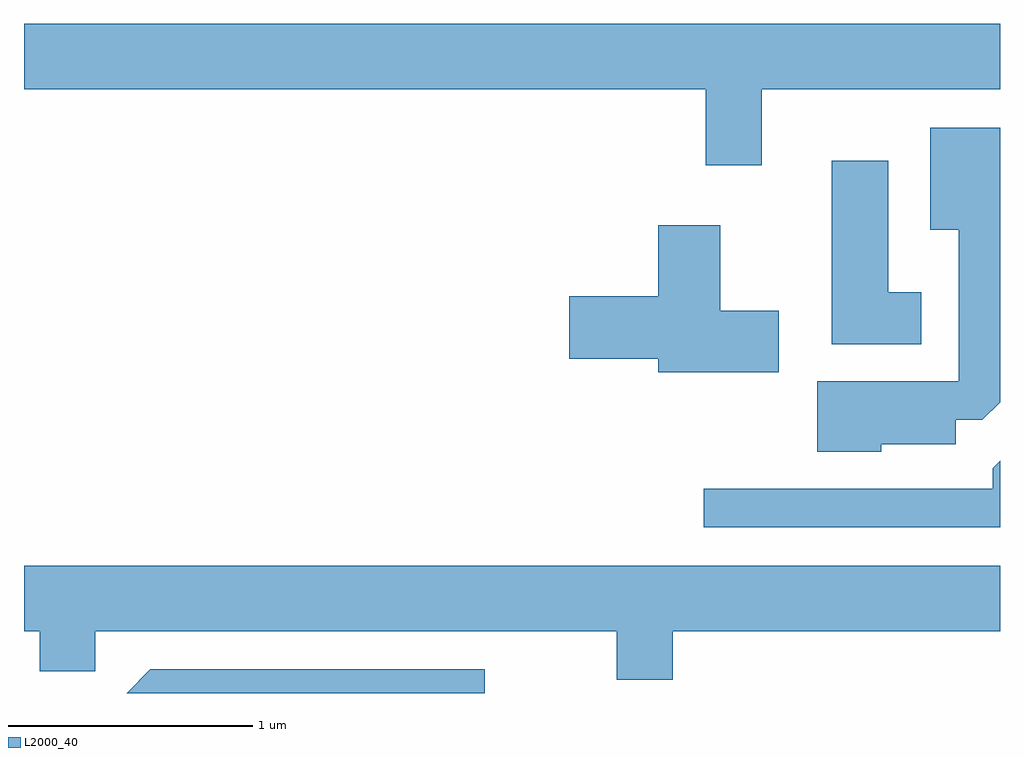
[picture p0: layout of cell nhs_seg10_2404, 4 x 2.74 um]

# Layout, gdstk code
import gdstk
lib = gdstk.Library(unit=1e-6, precision=1e-09)
def P(c, l, *ps):  # polygons
    for p in ps: c.add(gdstk.Polygon(p, *l))
L2000_40 = (2000, 40)

nhs_seg10_2404 = lib.new_cell('nhs_seg10_2404')
P(nhs_seg10_2404, L2000_40, [(258.634,2144.996),(259.611,2144.996),(259.611,2145.264),(255.611,2145.264),(255.611,2144.996),(258.406,2144.996),(258.406,2144.686),(258.634,2144.686)],
  [(259.124,2143.541),(259.429,2143.541),(259.429,2143.641),(259.539,2143.641),(259.611,2143.714),(259.611,2144.839),(259.326,2144.839),(259.326,2144.421),(259.441,2144.421),(259.441,2143.799),(258.861,2143.799),(258.861,2143.511),(259.124,2143.511)],
  [(259.289,2144.164),(259.154,2144.164),(259.154,2144.704),(258.921,2144.704),(258.921,2143.951),(259.289,2143.951)],
  [(258.704,2144.089),(258.464,2144.089),(258.464,2144.439),(258.211,2144.439),(258.211,2144.149),(257.846,2144.149),(257.846,2143.891),(258.211,2143.891),(258.211,2143.836),(258.704,2143.836)],
  [(259.611,2143.474),(259.581,2143.444),(259.581,2143.359),(258.397,2143.359),(258.397,2143.201),(259.611,2143.201)],
  [(258.269,2142.776),(259.611,2142.776),(259.611,2143.044),(255.611,2143.044),(255.611,2142.776),(255.676,2142.776),(255.676,2142.611),(255.904,2142.611),(255.904,2142.776),(258.041,2142.776),(258.041,2142.576),(258.269,2142.576)],
  [(257.499,2142.619),(256.129,2142.619),(256.032,2142.522),(257.499,2142.522)])

lib.write_gds('nhs_seg10_2404.gds')
